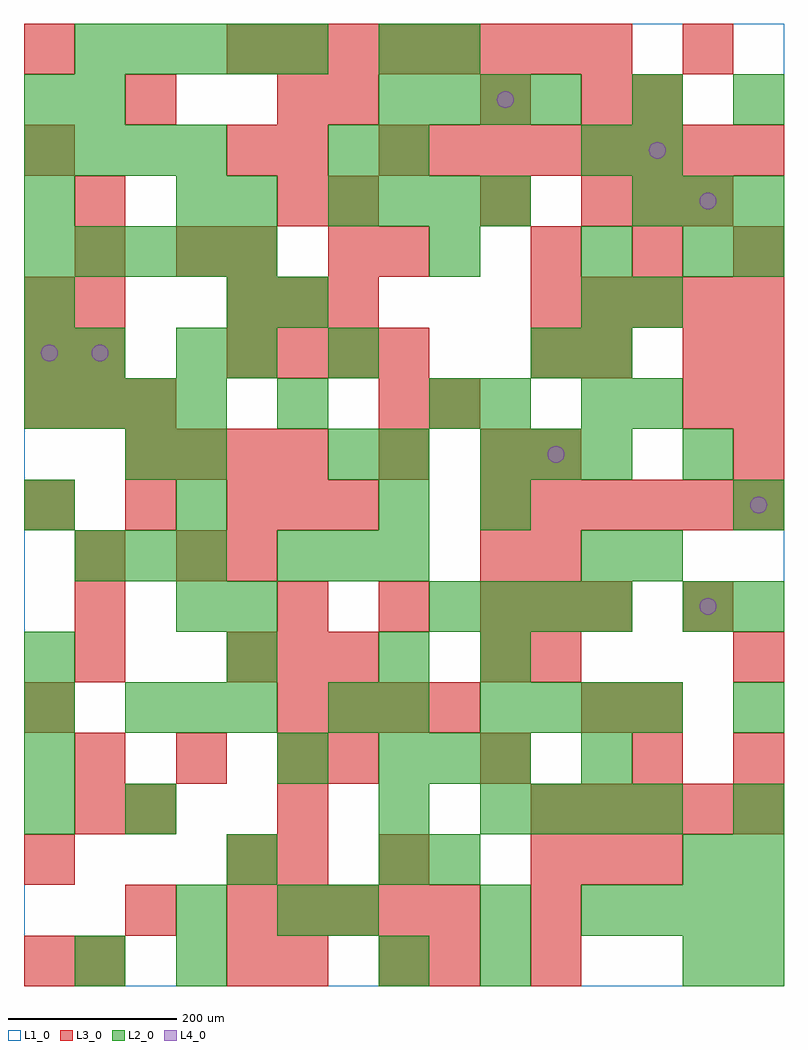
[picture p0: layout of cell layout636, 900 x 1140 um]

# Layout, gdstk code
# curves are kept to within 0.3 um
import gdstk
lib = gdstk.Library(unit=1e-6, precision=1e-09)
def R(c, l, rs):  # rectangles x0, y0, x1, y1
    for r in rs: c.add(gdstk.rectangle(r[:2], r[2:], *l))
def A(c, l, x, y, w, h, nx, ny, dx, dy):  # array of equal rectangles
    R(c, l, [(x+i*dx, y+j*dy, x+i*dx+w, y+j*dy+h) for i in range(nx) for j in range(ny)])
def P(c, l, *ps):  # polygons
    for p in ps: c.add(gdstk.Polygon(p, *l))
L1_0 = (1, 0)
L2_0 = (2, 0)
L3_0 = (3, 0)
L4_0 = (4, 0)

layout636 = lib.new_cell('layout636')
R(layout636, L1_0, [(0,0,900,1140)])
A(layout636, L2_0, 660, 60, 60, 60, 4, 1, 60, 0)
A(layout636, L2_0, 0, 180, 60, 60, 1, 4, 0, 60)
A(layout636, L2_0, 540, 180, 60, 60, 4, 2, 60, 120)
A(layout636, L2_0, 840, 180, 60, 60, 1, 4, 0, 120)
A(layout636, L2_0, 420, 240, 60, 60, 3, 1, 60, 0)
A(layout636, L2_0, 120, 300, 60, 60, 3, 1, 60, 0)
A(layout636, L2_0, 480, 420, 60, 60, 4, 1, 60, 0)
A(layout636, L2_0, 60, 480, 60, 60, 3, 1, 60, 0)
A(layout636, L2_0, 300, 480, 60, 60, 3, 1, 60, 0)
A(layout636, L2_0, 540, 600, 60, 60, 3, 1, 60, 0)
A(layout636, L2_0, 0, 660, 60, 60, 4, 2, 60, 300)
A(layout636, L2_0, 660, 660, 60, 60, 1, 4, 0, 60)
A(layout636, L2_0, 0, 780, 60, 60, 1, 3, 0, 120)
A(layout636, L2_0, 0, 840, 60, 60, 5, 1, 60, 0)
A(layout636, L2_0, 360, 900, 60, 60, 4, 1, 60, 0)
A(layout636, L2_0, 720, 900, 60, 60, 3, 1, 60, 0)
A(layout636, L2_0, 420, 1020, 60, 60, 4, 1, 60, 0)
A(layout636, L2_0, 60, 1080, 60, 60, 5, 1, 60, 0)
R(layout636, L2_0, [(60,0,120,60), (180,0,240,60), (420,0,480,60), (540,0,600,60), (780,0,840,60), (840,0,900,60), (180,60,240,120), (300,60,360,120), (360,60,420,120), (540,60,600,120), (240,120,300,180), (420,120,480,180), (480,120,540,180), (780,120,840,180), (840,120,900,180), (120,180,180,240), (420,180,480,240), (300,240,360,300), (660,240,720,300), (360,300,420,360), (420,300,480,360), (240,360,300,420), (420,360,480,420), (540,360,600,420), (180,420,240,480), (240,420,300,480), (780,420,840,480), (660,480,720,540), (720,480,780,540), (0,540,60,600), (180,540,240,600), (420,540,480,600), (540,540,600,600), (120,600,180,660), (180,600,240,660), (360,600,420,660), (420,600,480,660), (780,600,840,660), (300,660,360,720), (480,660,540,720), (540,660,600,720), (720,660,780,720), (0,720,60,780), (60,720,120,780), (180,720,240,780), (240,720,300,780), (360,720,420,780), (600,720,660,780), (240,780,300,840), (300,780,360,840), (720,780,780,840), (480,840,540,900), (780,840,840,900), (840,840,900,900), (180,900,240,960), (240,900,300,960), (360,960,420,1020), (420,960,480,1020), (660,960,720,1020), (720,960,780,1020), (60,1020,120,1080), (720,1020,780,1080), (840,1020,900,1080), (420,1080,480,1140), (480,1080,540,1140)])
A(layout636, L3_0, 60, 0, 60, 60, 1, 3, 0, 180)
A(layout636, L3_0, 240, 60, 60, 60, 5, 1, 60, 0)
A(layout636, L3_0, 240, 120, 60, 60, 1, 3, 0, 360)
A(layout636, L3_0, 600, 120, 60, 60, 3, 1, 60, 0)
A(layout636, L3_0, 300, 180, 60, 60, 1, 3, 0, 360)
A(layout636, L3_0, 600, 180, 60, 60, 5, 2, 60, 600)
A(layout636, L3_0, 60, 240, 60, 60, 3, 1, 120, 0)
A(layout636, L3_0, 360, 240, 60, 60, 3, 1, 180, 0)
A(layout636, L3_0, 300, 300, 60, 60, 4, 1, 60, 0)
A(layout636, L3_0, 240, 360, 60, 60, 3, 2, 60, 420)
A(layout636, L3_0, 540, 360, 60, 60, 1, 3, 0, 120)
A(layout636, L3_0, 600, 360, 60, 60, 1, 3, 0, 60)
A(layout636, L3_0, 300, 420, 60, 60, 3, 1, 120, 0)
A(layout636, L3_0, 660, 420, 60, 60, 1, 3, 0, 300)
A(layout636, L3_0, 0, 540, 60, 60, 3, 1, 120, 0)
A(layout636, L3_0, 540, 540, 60, 60, 6, 1, 60, 0)
A(layout636, L3_0, 120, 600, 60, 60, 4, 1, 60, 0)
A(layout636, L3_0, 840, 600, 60, 60, 1, 3, 0, 60)
A(layout636, L3_0, 0, 660, 60, 60, 3, 1, 60, 0)
A(layout636, L3_0, 60, 720, 60, 60, 1, 4, 0, 60)
A(layout636, L3_0, 240, 720, 60, 60, 4, 1, 60, 0)
A(layout636, L3_0, 600, 840, 60, 60, 3, 1, 120, 0)
A(layout636, L3_0, 660, 900, 60, 60, 3, 1, 60, 0)
A(layout636, L3_0, 420, 960, 60, 60, 8, 1, 60, 0)
A(layout636, L3_0, 240, 1080, 60, 60, 8, 1, 60, 0)
R(layout636, L3_0, [(0,0,60,60), (240,0,300,60), (300,0,360,60), (420,0,480,60), (480,0,540,60), (600,0,660,60), (120,60,180,120), (600,60,660,120), (0,120,60,180), (300,120,360,180), (420,120,480,180), (120,180,180,240), (840,240,900,300), (0,300,60,360), (660,300,720,360), (720,300,780,360), (840,360,900,420), (60,420,120,480), (780,420,840,480), (60,480,120,540), (180,480,240,540), (360,540,420,600), (420,600,480,660), (600,600,660,660), (420,660,480,720), (480,660,540,720), (780,660,840,720), (0,720,60,780), (600,720,660,780), (780,720,840,780), (0,780,60,840), (180,840,240,900), (360,840,420,900), (420,840,480,900), (360,900,420,960), (540,900,600,960), (0,960,60,1020), (240,960,300,1020), (300,960,360,1020), (120,1020,180,1080), (300,1020,360,1080), (360,1020,420,1080), (540,1020,600,1080), (720,1020,780,1080), (0,1080,60,1140), (780,1080,840,1140)])
P(layout636, L4_0, [(40,750),(39.239,753.827),(37.071,757.071),(33.827,759.239),(30,760),(26.173,759.239),(22.929,757.071),(20.761,753.827),(20,750),(20.761,746.173),(22.929,742.929),(26.173,740.761),(30,740),(33.827,740.761),(37.071,742.929),(39.239,746.173)],
  [(100,750),(99.239,753.827),(97.071,757.071),(93.827,759.239),(90,760),(86.173,759.239),(82.929,757.071),(80.761,753.827),(80,750),(80.761,746.173),(82.929,742.929),(86.173,740.761),(90,740),(93.827,740.761),(97.071,742.929),(99.239,746.173)],
  [(580,1050),(579.239,1053.827),(577.071,1057.071),(573.827,1059.239),(570,1060),(566.173,1059.239),(562.929,1057.071),(560.761,1053.827),(560,1050),(560.761,1046.173),(562.929,1042.929),(566.173,1040.761),(570,1040),(573.827,1040.761),(577.071,1042.929),(579.239,1046.173)],
  [(640,630),(639.239,633.827),(637.071,637.071),(633.827,639.239),(630,640),(626.173,639.239),(622.929,637.071),(620.761,633.827),(620,630),(620.761,626.173),(622.929,622.929),(626.173,620.761),(630,620),(633.827,620.761),(637.071,622.929),(639.239,626.173)],
  [(760,990),(759.239,993.827),(757.071,997.071),(753.827,999.239),(750,1000),(746.173,999.239),(742.929,997.071),(740.761,993.827),(740,990),(740.761,986.173),(742.929,982.929),(746.173,980.761),(750,980),(753.827,980.761),(757.071,982.929),(759.239,986.173)],
  [(820,450),(819.239,453.827),(817.071,457.071),(813.827,459.239),(810,460),(806.173,459.239),(802.929,457.071),(800.761,453.827),(800,450),(800.761,446.173),(802.929,442.929),(806.173,440.761),(810,440),(813.827,440.761),(817.071,442.929),(819.239,446.173)],
  [(820,930),(819.239,933.827),(817.071,937.071),(813.827,939.239),(810,940),(806.173,939.239),(802.929,937.071),(800.761,933.827),(800,930),(800.761,926.173),(802.929,922.929),(806.173,920.761),(810,920),(813.827,920.761),(817.071,922.929),(819.239,926.173)],
  [(880,570),(879.239,573.827),(877.071,577.071),(873.827,579.239),(870,580),(866.173,579.239),(862.929,577.071),(860.761,573.827),(860,570),(860.761,566.173),(862.929,562.929),(866.173,560.761),(870,560),(873.827,560.761),(877.071,562.929),(879.239,566.173)])

lib.write_gds('layout636.gds')
